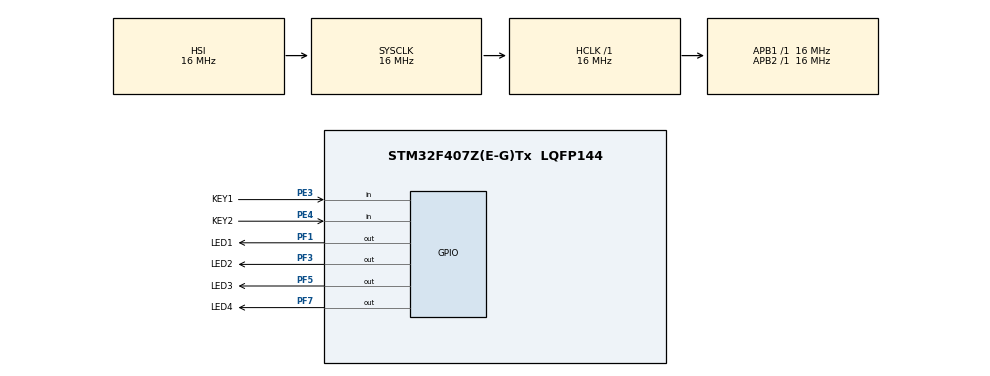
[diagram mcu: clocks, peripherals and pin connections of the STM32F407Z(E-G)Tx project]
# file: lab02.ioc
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Mcu.Family=STM32F4
Mcu.Name=STM32F407Z(E-G)Tx
Mcu.Package=LQFP144
NVIC.PriorityGroup=NVIC_PRIORITYGROUP_4
PE3.GPIO_Label=KEY1
PE3.GPIO_PuPd=GPIO_PULLUP
PE3.Signal=GPIO_Input
PE4.GPIO_Label=KEY2
PE4.GPIO_PuPd=GPIO_PULLUP
PE4.Signal=GPIO_Input
PF1.GPIO_Label=LED1
PF1.Signal=GPIO_Output
PF3.GPIO_Label=LED2
PF3.Signal=GPIO_Output
PF5.GPIO_Label=LED3
PF5.Signal=GPIO_Output
PF7.GPIO_Label=LED4
PF7.Signal=GPIO_Output
ProjectManager.HeapSize=0x200
ProjectManager.StackSize=0x400
ProjectManager.TargetToolchain=STM32CubeIDE
RCC.AHBFreq_Value=16000000
RCC.APB1Freq_Value=16000000
RCC.APB2Freq_Value=16000000
RCC.CortexFreq_Value=16000000
RCC.HSE_VALUE=25000000
RCC.HSI_VALUE=16000000
RCC.LSE_VALUE=32768
RCC.SYSCLKFreq_VALUE=16000000
RCC.VCOOutputFreq_Value=192000000
board=custom

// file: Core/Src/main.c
/* USER CODE BEGIN Header */
/**
  ******************************************************************************
  * @file           : main.c
  * @brief          : Main program body
  ******************************************************************************
  * @attention
  *
  * <h2><center>&copy; Copyright (c) 2022 STMicroelectronics.
  * All rights reserved.</center></h2>
  *
  * This software component is licensed by ST under BSD 3-Clause license,
  * the "License"; You may not use this file except in compliance with the
  * License. You may obtain a copy of the License at:
  *                        opensource.org/licenses/BSD-3-Clause
  *
  ******************************************************************************
  */
/* USER CODE END Header */
#include "main.h"

/* USER CODE BEGIN Includes */
#include "button.h"
/* USER CODE END Includes */

/* USER CODE BEGIN PTD */
typedef struct {
	GPIO_TypeDef* port;
	uint16_t pin;
}LED_GPIO_t;
/* USER CODE END PTD */

/* USER CODE BEGIN PV */
enum LED {
	LED1,
	LED2,
	LED3,
	LED4,
	LED_COUNT
} LED_t;

LED_GPIO_t leds[] = {
	[LED1]	= {LED1_GPIO_Port, LED1_Pin},
	[LED2]	= {LED2_GPIO_Port, LED2_Pin},
	[LED3]	= {LED3_GPIO_Port, LED3_Pin},
	[LED4]	= {LED4_GPIO_Port, LED4_Pin},
};

uint8_t led_counter;
/* USER CODE END PV */

void SystemClock_Config(void);
static void MX_GPIO_Init(void);

/* USER CODE BEGIN 0 */
void running_light(uint8_t* idx)
{
	static uint8_t prev_idx = LED_COUNT - 1;
	if (*idx > 0) prev_idx = *idx - 1;

	HAL_GPIO_WritePin(leds[*idx].port, leds[*idx].pin, GPIO_PIN_SET);
	HAL_GPIO_WritePin(leds[prev_idx].port, leds[prev_idx].pin, GPIO_PIN_RESET);
	prev_idx = *idx;
	*idx %= LED_COUNT;
}

void running_light2(uint8_t* idx)
{
	if (*idx >= LED_COUNT) {
		for (size_t led_pos = 0; led_pos < LED_COUNT; led_pos++) {
			HAL_GPIO_WritePin(leds[led_pos].port, leds[led_pos].pin, GPIO_PIN_RESET);
		}
	}
	else {
		HAL_GPIO_WritePin(leds[*idx].port, leds[*idx].pin, GPIO_PIN_SET);
	}
	*idx %= LED_COUNT + 1;
}
/* USER CODE END 0 */

int main(void)
{

  /* MCU Configuration--------------------------------------------------------*/

  /* Reset of all peripherals, Initializes the Flash interface and the Systick. */
  HAL_Init();

  /* Configure the system clock */
  SystemClock_Config();

  /* Initialize all configured peripherals */
  MX_GPIO_Init();

  /* Infinite loop */
  /* USER CODE BEGIN WHILE */
  while (1)
  {
	  Button_Status status = get_button_status(KEY2_GPIO_Port, KEY2_Pin);
	  if (status == Short_Press) {
		  led_counter++;
	  }
	  running_light2(&led_counter);
    /* USER CODE END WHILE */

  }
}

void SystemClock_Config(void)
{
  RCC_OscInitTypeDef RCC_OscInitStruct = {0};
  RCC_ClkInitTypeDef RCC_ClkInitStruct = {0};

  /** Configure the main internal regulator output voltage
  */
  __HAL_RCC_PWR_CLK_ENABLE();
  __HAL_PWR_VOLTAGESCALING_CONFIG(PWR_REGULATOR_VOLTAGE_SCALE1);
  /** Initializes the RCC Oscillators according to the specified parameters
  * in the RCC_OscInitTypeDef structure.
  */
  RCC_OscInitStruct.OscillatorType = RCC_OSCILLATORTYPE_HSI;
  RCC_OscInitStruct.HSIState = RCC_HSI_ON;
  RCC_OscInitStruct.HSICalibrationValue = RCC_HSICALIBRATION_DEFAULT;
  RCC_OscInitStruct.PLL.PLLState = RCC_PLL_NONE;
  if (HAL_RCC_OscConfig(&RCC_OscInitStruct) != HAL_OK)
  {
    Error_Handler();
  }
  /** Initializes the CPU, AHB and APB buses clocks
  */
  RCC_ClkInitStruct.ClockType = RCC_CLOCKTYPE_HCLK|RCC_CLOCKTYPE_SYSCLK
                              |RCC_CLOCKTYPE_PCLK1|RCC_CLOCKTYPE_PCLK2;
  RCC_ClkInitStruct.SYSCLKSource = RCC_SYSCLKSOURCE_HSI;
  RCC_ClkInitStruct.AHBCLKDivider = RCC_SYSCLK_DIV1;
  RCC_ClkInitStruct.APB1CLKDivider = RCC_HCLK_DIV1;
  RCC_ClkInitStruct.APB2CLKDivider = RCC_HCLK_DIV1;

  if (HAL_RCC_ClockConfig(&RCC_ClkInitStruct, FLASH_LATENCY_0) != HAL_OK)
  {
    Error_Handler();
  }
}

static void MX_GPIO_Init(void)
{
  GPIO_InitTypeDef GPIO_InitStruct = {0};

  /* GPIO Ports Clock Enable */
  __HAL_RCC_GPIOE_CLK_ENABLE();
  __HAL_RCC_GPIOF_CLK_ENABLE();

  /*Configure GPIO pin Output Level */
  HAL_GPIO_WritePin(GPIOF, LED1_Pin|LED2_Pin|LED3_Pin|LED4_Pin, GPIO_PIN_RESET);

  /*Configure GPIO pins : KEY1_Pin KEY2_Pin */
  GPIO_InitStruct.Pin = KEY1_Pin|KEY2_Pin;
  GPIO_InitStruct.Mode = GPIO_MODE_INPUT;
  GPIO_InitStruct.Pull = GPIO_PULLUP;
  HAL_GPIO_Init(GPIOE, &GPIO_InitStruct);

  /*Configure GPIO pins : LED1_Pin LED2_Pin LED3_Pin LED4_Pin */
  GPIO_InitStruct.Pin = LED1_Pin|LED2_Pin|LED3_Pin|LED4_Pin;
  GPIO_InitStruct.Mode = GPIO_MODE_OUTPUT_PP;
  GPIO_InitStruct.Pull = GPIO_NOPULL;
  GPIO_InitStruct.Speed = GPIO_SPEED_FREQ_LOW;
  HAL_GPIO_Init(GPIOF, &GPIO_InitStruct);

}

void Error_Handler(void)
{
  __disable_irq();
  while (1)
  {
  }
}

/************************ (C) COPYRIGHT STMicroelectronics *****END OF FILE****/
